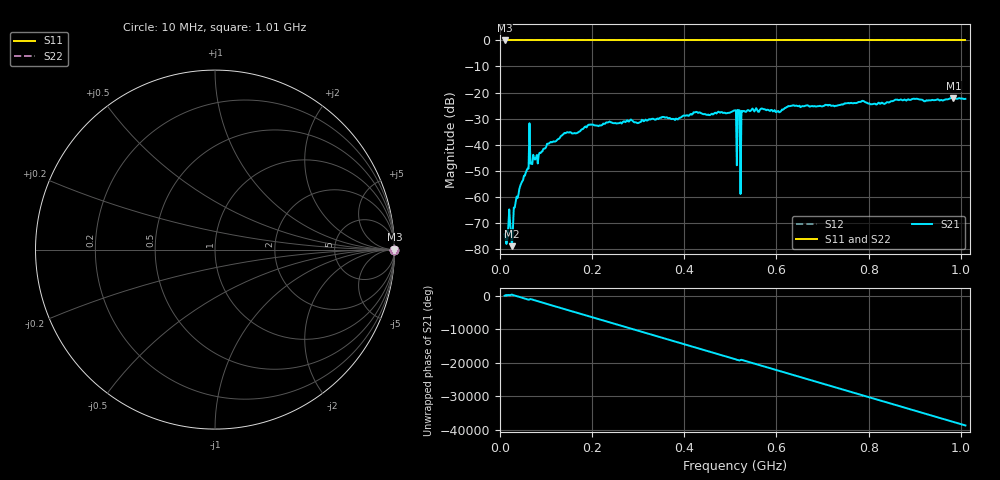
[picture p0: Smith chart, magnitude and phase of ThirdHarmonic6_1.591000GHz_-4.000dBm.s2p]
! 8/16/2025 6:56:58 PM
! C:\ANRITSUVNA\TEMP\TEMP.S2P
! CHANNEL.1
! TR.MEASUREMENT
! RAW.DATA
! RF.CORRECTION.OFF
! AVERAGING.OFF
! IF.BANDWIDTH: 5KHZ
! SWEEPTYPE:  FREQ.SWEEP(Linear)
! Reference Plane Port Info
! PORT:  PORT1  PORT2
! DISTANCE:  0  m  0  m
! TIME:  0  s  0  s
! PHASE.OFFSET:  0  deg.  0  deg.
! LOSS:  0  dB  0  dB
! REF.LOSS:  0  dB  0  dB
! REF.FREQ:  0  Hz  0  Hz
! Power Info
! POWER:  -20  dBm  -20  dBm
! EFF.POWER:  -20  dBm  -20  dBm
! SOURCE.ATTEN:  0  dB  0  dB
! TEST.ATTEN:  0  dB  0  dB
# GHZ S RI R 50.0
! FREQ.GHZ  S11RE  S11IM  S21RE  S21IM  S12RE  S12IM  S22RE  S22IM
!; PortSelection: Port_12
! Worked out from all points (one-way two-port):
!   501 points, 10 MHz to 1.01 GHz, reference 50 ohm
!   highest |S21| = -22.07 dB at 984 MHz (marker M1); lowest = -79.0 dB at 26 MHz (marker M2)
!   lowest |S11| = 0.0 dB at 10 MHz (marker M3)
!   |S11| at or under -10 dB: nowhere
!   |S22| runs from 0.0 to 0.0 dB; largest |S21 - S12| = 1.1
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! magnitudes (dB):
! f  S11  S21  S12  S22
! 10 MHz  0.0  -74.5  0.0  0.0
! 20 MHz  0.0  -64.9  0.0  0.0
! 26 MHz  0.0  -79.0  0.0  0.0
! 34 MHz  0.0  -62.1  0.0  0.0
! 58 MHz  0.0  -49.9  0.0  0.0
! 60 MHz  0.0  -49.2  0.0  0.0
! 68 MHz  0.0  -47.1  0.0  0.0
! 70 MHz  0.0  -47.5  0.0  0.0
! 106 MHz  0.0  -39.7  0.0  0.0
! 178 MHz  0.0  -34.1  0.0  0.0
! 344 MHz  0.0  -30.2  0.0  0.0
! 508 MHz  0.0  -26.9  0.0  0.0
! 510 MHz  0.0  -26.9  0.0  0.0
! 516 MHz  0.0  -26.7  0.0  0.0
! 518 MHz  0.0  -26.9  0.0  0.0
! 520 MHz  0.0  -26.8  0.0  0.0
! 526 MHz  0.0  -27.3  0.0  0.0
! 528 MHz  0.0  -27.1  0.0  0.0
! 678 MHz  0.0  -25.2  0.0  0.0
! 844 MHz  0.0  -23.9  0.0  0.0
! 984 MHz  0.0  -22.1  0.0  0.0
! 1.01 GHz  0.0  -22.4  0.0  0.0
